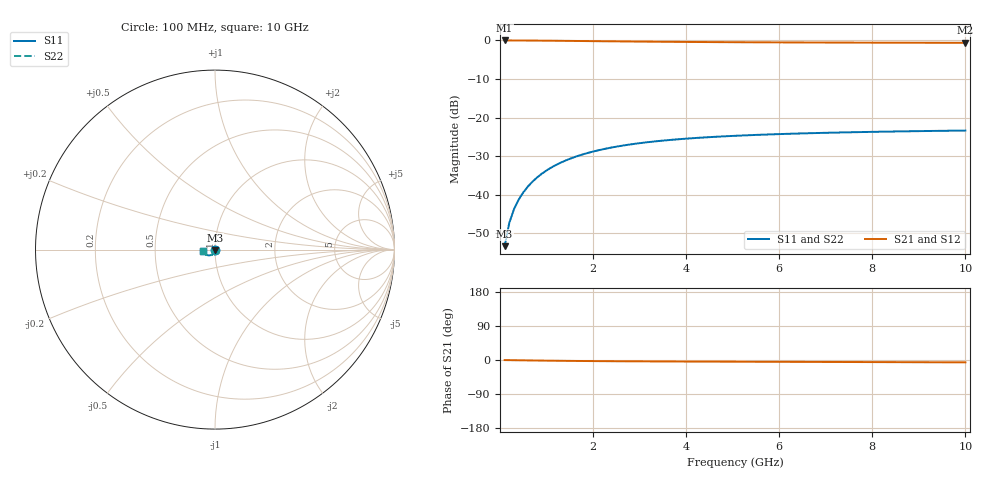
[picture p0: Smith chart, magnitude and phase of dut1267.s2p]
! Touchstone file exported from HFSS 2024.1.0
!  File:  C:/UserFiles/LocalFiles/RDL_TSV_Batchsim/temp_TSV1_1267_1780254121.aedt
!  Generated:  03:07:37 AM Jun  1, 2026
!  Design:  TSV1
!  Project:  temp_TSV1_1267_1780254121
!  Setup:  Setup1
!  Solution:  Sweep
! Variables:
!  dtsv = 14.35um
!  hbump = 3um
!  htsv = 97.18um
!  lrdl = 252.1521522um
!  p = 40
!  p1 = 57.53um
!  t = 500um
!  trdl = 3um
!  wrdl = 24.89489489um
# GHz S MA R 50.000000
! Terminal data exported
! Port[1] = TSV22_T1
! Port[2] = TSV22_T2
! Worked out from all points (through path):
!   100 points, 100 MHz to 10 GHz, reference 50 ohm
!   highest |S21| = 0.00 dB at 100 MHz (marker M1); lowest = -0.6 dB at 10 GHz (marker M2)
!   lowest |S11| = -53.3 dB at 100 MHz (marker M3), VSWR 1.00, Z = 50 - j0.216 ohm
!   |S11| at or under -10 dB: start of sweep to end of sweep
!   |S22| runs from -53.3 to -23.3 dB; largest |S21 - S12| = 9.5e-15
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0.1  0.00216 -89.6  0.9998 -0.2  0.9998 -0.2  0.00216 -89.6
! Gamma 0 0 0 0
! Port Impedance 50 0 50 0
0.2  0.004318 -92.6  0.9996 -0.4  0.9996 -0.4  0.004318 -92.6
0.3  0.00647 -94.9  0.9992 -0.5  0.9992 -0.5  0.00647 -94.9
0.4  0.008607 -97.0  0.9987 -0.7  0.9987 -0.7  0.008607 -97.0
0.5  0.01072 -99.0  0.998 -0.9  0.998 -0.9  0.01072 -99.0
0.6  0.01279 -101.1  0.9973 -1.1  0.9973 -1.1  0.01279 -101.1
0.7  0.01483 -103.0  0.9964 -1.2  0.9964 -1.2  0.01483 -103.0
0.8  0.01683 -104.9  0.9954 -1.4  0.9954 -1.4  0.01683 -104.9
0.9  0.01877 -106.8  0.9944 -1.5  0.9944 -1.5  0.01877 -106.8
1.1  0.0225 -110.4  0.992 -1.8  0.992 -1.8  0.0225 -110.4
1.4  0.02765 -115.5  0.9881 -2.2  0.9881 -2.2  0.02765 -115.5
1.6  0.03078 -118.7  0.9853 -2.5  0.9853 -2.5  0.03078 -118.7
1.8  0.03368 -121.7  0.9824 -2.7  0.9824 -2.7  0.03368 -121.7
2.1  0.03759 -125.9  0.9782 -3.0  0.9782 -3.0  0.03759 -125.9
2.5  0.04207 -130.9  0.9728 -3.3  0.9728 -3.3  0.04207 -130.9
2.9  0.04582 -135.4  0.9679 -3.5  0.9679 -3.5  0.04582 -135.4
3.4  0.04969 -140.2  0.9623 -3.8  0.9623 -3.8  0.04969 -140.2
4.2  0.05444 -146.7  0.955 -4.2  0.955 -4.2  0.05444 -146.7
5.1  0.05832 -152.7  0.9487 -4.5  0.9487 -4.5  0.05832 -152.7
6.7  0.06293 -160.9  0.9408 -5.1  0.9408 -5.1  0.06293 -160.9
8.4  0.06602 -167.5  0.9353 -5.6  0.9353 -5.6  0.06603 -167.5
10  0.06803 -172.7  0.9319 -6.2  0.9319 -6.2  0.06803 -172.7
